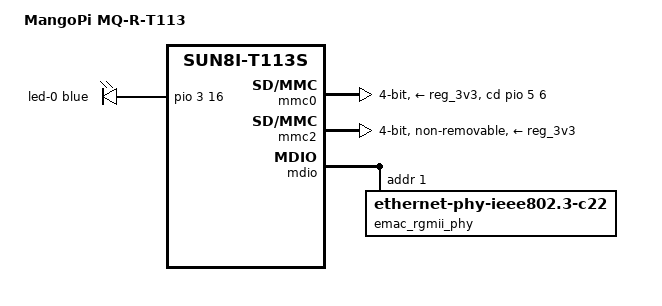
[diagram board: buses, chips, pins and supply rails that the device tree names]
// SPDX-License-Identifier: (GPL-2.0+ or MIT)
// Copyright (C) 2022 Arm Ltd.

#include <dt-bindings/interrupt-controller/irq.h>

/dts-v1/;

#include "sun8i-t113s.dtsi"
#include "sunxi-d1s-t113-mangopi-mq-r.dtsi"

/ {
	model = "MangoPi MQ-R-T113";
	compatible = "widora,mangopi-mq-r-t113", "allwinner,sun8i-t113s";

	aliases {
		serial3 = &uart3;
		ethernet0 = &emac;
	};

	chosen {
		stdout-path = "serial3:115200n8";
	};

	leds {
		compatible = "gpio-leds";

		led-0 {
			color = <LED_COLOR_ID_BLUE>;
			function = LED_FUNCTION_STATUS;
			gpios = <&pio 3 16 GPIO_ACTIVE_HIGH>; /* PD22 */
		};
	};
};

&cpu0 {
	cpu-supply = <&reg_vcc_core>;
};

&cpu1 {
	cpu-supply = <&reg_vcc_core>;
};

&pio {
	vcc-pb-supply = <&reg_3v3>;
	vcc-pd-supply = <&reg_3v3>;
	vcc-pe-supply = <&reg_3v3>;
	vcc-pf-supply = <&reg_3v3>;
	vcc-pg-supply = <&reg_3v3>;
};

// TF-Card
&mmc0 {
	pinctrl-0 = <&mmc0_pins>;
	pinctrl-names = "default";
	vmmc-supply = <&reg_3v3>;
	cd-gpios = <&pio 5 6 GPIO_ACTIVE_HIGH>; // F6
	disable-wp;
	bus-width = <4>;
	status = "okay";
};

// Wi-Fi
&mmc1 {
	pinctrl-0 = <&mmc1_pins>;
	pinctrl-names = "default";
	vmmc-supply = <&reg_3v3>;
	non-removable;
	bus-width = <4>;
	status = "disabled";

	rtl8189ftv: wifi@1 {
		reg = <1>;
		interrupt-parent = <&pio>;
		interrupts = <6 11 IRQ_TYPE_LEVEL_LOW>; /* PG11 = WL_WAKE_AP */
		interrupt-names = "host-wake";
	};
};

// EMMC
&mmc2 {
	pinctrl-0 = <&mmc2_pins>;
	pinctrl-names = "default";
	vmmc-supply = <&reg_3v3>;
	non-removable;
	bus-width = <4>;
	status = "okay";
};

&emac {
	pinctrl-0 = <&rgmii_pe_pins>;
	pinctrl-names = "default";
	phy-mode = "rgmii-id";
	phy-handle = <&emac_rgmii_phy>;
	phy-supply = <&reg_3v3>; // vcc-pe-supply
	allwinner,rx-delay-ps = <200>;
	allwinner,tx-delay-ps = <200>;
	status = "disabled";
};

&mdio {
	emac_rgmii_phy: ethernet-phy@1 {
		compatible = "ethernet-phy-ieee802.3-c22";
		reg = <1>;
	};
};
